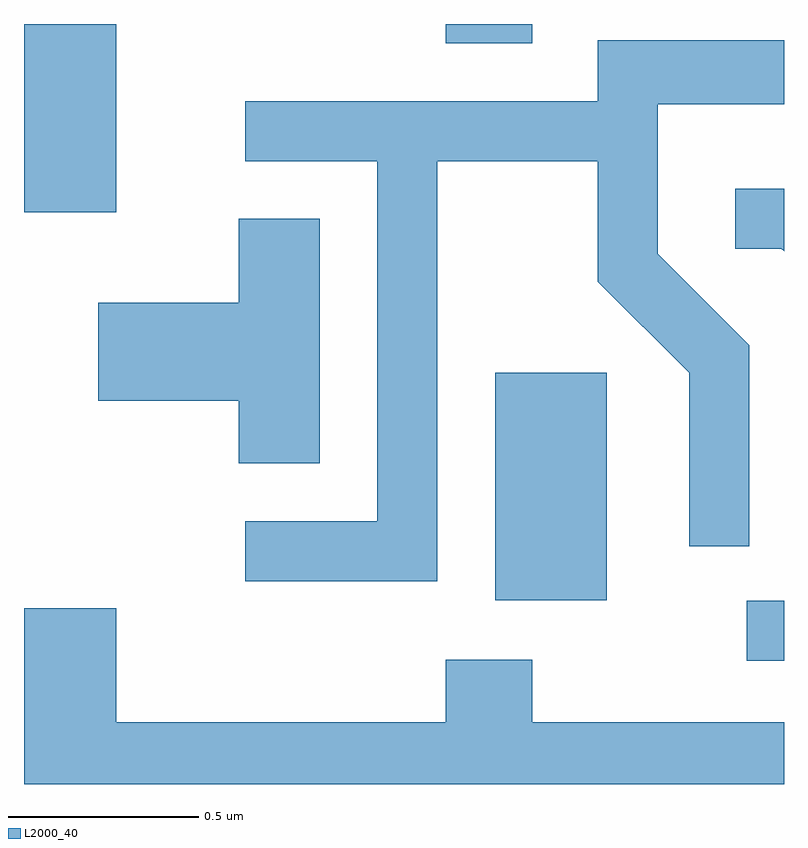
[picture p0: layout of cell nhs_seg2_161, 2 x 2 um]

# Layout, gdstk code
import gdstk
lib = gdstk.Library(unit=1e-6, precision=1e-09)
def R(c, l, rs):  # rectangles x0, y0, x1, y1
    for r in rs: c.add(gdstk.rectangle(r[:2], r[2:], *l))
def P(c, l, *ps):  # polygons
    for p in ps: c.add(gdstk.Polygon(p, *l))
L2000_40 = (2000, 40)

nhs_seg2_161 = lib.new_cell('nhs_seg2_161')
R(nhs_seg2_161, L2000_40, [(188.513,1002.126,188.611,1002.284), (187.851,1002.286,188.144,1002.884), (186.611,1003.306,186.854,1003.802), (187.721,1003.751,187.949,1003.802)])
P(nhs_seg2_161, L2000_40, [(187.699,1003.441),(188.121,1003.441),(188.121,1003.124),(188.361,1002.884),(188.361,1002.428),(188.519,1002.428),(188.519,1002.957),(188.279,1003.197),(188.279,1003.591),(188.611,1003.591),(188.611,1003.759),(188.121,1003.759),(188.121,1003.599),(187.193,1003.599),(187.193,1003.441),(187.541,1003.441),(187.541,1002.494),(187.193,1002.494),(187.193,1002.336),(187.699,1002.336)],
  [(188.611,1003.369),(188.483,1003.369),(188.483,1003.211),(188.604,1003.211),(188.611,1003.204)],
  [(187.389,1003.289),(187.176,1003.289),(187.176,1003.069),(186.806,1003.069),(186.806,1002.811),(187.176,1002.811),(187.176,1002.646),(187.389,1002.646)],
  [(188.611,1001.964),(187.949,1001.964),(187.949,1002.129),(187.721,1002.129),(187.721,1001.964),(186.854,1001.964),(186.854,1002.264),(186.611,1002.264),(186.611,1001.802),(188.611,1001.802)])

lib.write_gds('nhs_seg2_161.gds')
